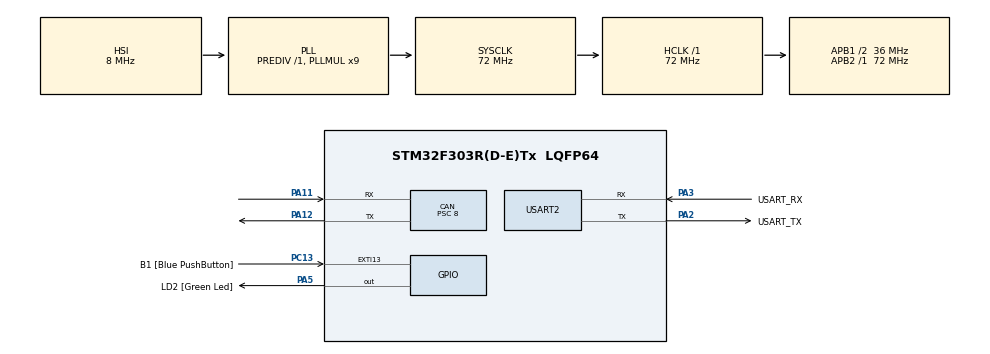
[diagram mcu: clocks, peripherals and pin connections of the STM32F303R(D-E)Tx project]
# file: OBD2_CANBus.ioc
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CAN.BS1=CAN_BS1_4TQ
CAN.BS2=CAN_BS2_4TQ
CAN.CalculateBaudRate=500000
CAN.CalculateTimeBit=2000
CAN.CalculateTimeQuantum=222.22222222222223
CAN.Prescaler=8
CAN.SJW=CAN_SJW_1TQ
Mcu.Family=STM32F3
Mcu.Name=STM32F303R(D-E)Tx
Mcu.Package=LQFP64
NVIC.EXTI15_10_IRQn=true\:0\:0\:false\:false\:true\:true\:true\:true
NVIC.PriorityGroup=NVIC_PRIORITYGROUP_0
NVIC.USB_LP_CAN_RX0_IRQn=true\:0\:0\:false\:false\:true\:true\:true\:true
PA11.Mode=CAN_Activate
PA11.Signal=CAN_RX
PA12.Mode=CAN_Activate
PA12.Signal=CAN_TX
PA13.GPIO_Label=TMS
PA13.Mode=Trace_Asynchronous_SW
PA13.Signal=SYS_JTMS-SWDIO
PA14.GPIO_Label=TCK
PA14.Mode=Trace_Asynchronous_SW
PA14.Signal=SYS_JTCK-SWCLK
PA2.GPIO_Label=USART_TX
PA2.GPIO_Mode=GPIO_MODE_AF_PP
PA2.GPIO_PuPd=GPIO_NOPULL
PA2.GPIO_Speed=GPIO_SPEED_FREQ_LOW
PA2.Mode=Asynchronous
PA2.Signal=USART2_TX
PA3.GPIO_Label=USART_RX
PA3.GPIO_Mode=GPIO_MODE_AF_PP
PA3.GPIO_PuPd=GPIO_NOPULL
PA3.GPIO_Speed=GPIO_SPEED_FREQ_LOW
PA3.Mode=Asynchronous
PA3.Signal=USART2_RX
PA5.GPIO_Label=LD2 [Green Led]
PA5.GPIO_Mode=GPIO_MODE_OUTPUT_PP
PA5.GPIO_PuPd=GPIO_NOPULL
PA5.GPIO_Speed=GPIO_SPEED_FREQ_LOW
PA5.Signal=GPIO_Output
PB3.GPIO_Label=SWO
PB3.Mode=Trace_Asynchronous_SW
PB3.Signal=SYS_JTDO-TRACESWO
PC13.GPIO_Label=B1 [Blue PushButton]
PC13.GPIO_ModeDefaultEXTI=GPIO_MODE_IT_FALLING
PC13.Signal=GPXTI13
PC14-OSC32_IN.Mode=LSE-External-Oscillator
PC14-OSC32_IN.Signal=RCC_OSC32_IN
PC15-OSC32_OUT.Mode=LSE-External-Oscillator
PC15-OSC32_OUT.Signal=RCC_OSC32_OUT
PF0-OSC_IN.Mode=HSE-External-Clock-Source
PF0-OSC_IN.Signal=RCC_OSC_IN
PF1-OSC_OUT.Signal=RCC_OSC_OUT
ProjectManager.HeapSize=0x200
ProjectManager.StackSize=0x400
ProjectManager.TargetToolchain=STM32CubeIDE
RCC.AHBFreq_Value=72000000
RCC.APB1CLKDivider=RCC_HCLK_DIV2
RCC.APB1Freq_Value=36000000
RCC.APB1TimFreq_Value=72000000
RCC.APB2Freq_Value=72000000
RCC.APB2TimFreq_Value=72000000
RCC.CortexFreq_Value=72000000
RCC.HCLKFreq_Value=72000000
RCC.HSE_VALUE=8000000
RCC.HSI_VALUE=8000000
RCC.PLLM=8
RCC.PLLMUL=RCC_PLL_MUL9
RCC.PLLN=336
RCC.PLLP=RCC_PLLP_DIV4
RCC.PLLQ=7
RCC.RCC_PLLsource_Clock_Source_FROM_HSE=RCC_HSE_PREDIV_DIV2
RCC.SYSCLKFreq_VALUE=72000000
RCC.SYSCLKSourceVirtual=RCC_SYSCLKSOURCE_PLLCLK
RCC.USBFreq_Value=72000000
USART2.VirtualMode-Asynchronous=VM_ASYNC
board=NUCLEO-F303RE

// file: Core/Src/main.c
/* USER CODE BEGIN Header */
/**
  ******************************************************************************
  * @file           : main.c
  * @brief          : Main program body
  ******************************************************************************
  * @attention
  *
  * Copyright (c) 2025 STMicroelectronics.
  * All rights reserved.
  *
  * This software is licensed under terms that can be found in the LICENSE file
  * in the root directory of this software component.
  * If no LICENSE file comes with this software, it is provided AS-IS.
  *
  ******************************************************************************
  */
/* USER CODE END Header */
#include "main.h"

/* USER CODE BEGIN Includes */
#include "stdio.h"
#include "OBD2msg.h"
/* USER CODE END Includes */

/* USER CODE BEGIN PD */
#define ID						0x100
#define GO_TO_FLOOR_1 			0x05
#define GO_TO_FLOOR_2			0x06
#define GO_TO_FLOOR_3			0x07
#define NO_BUTTON_PRESSED		0
#define BLUE_BUTTON_PRESSED		1
/* USER CODE END PD */

CAN_HandleTypeDef hcan;

UART_HandleTypeDef huart2;

/* USER CODE BEGIN PV */
CAN_TxHeaderTypeDef		TxHeader;
CAN_RxHeaderTypeDef		RxHeader;
uint8_t					TxData[8];
uint8_t					RxData[8];
uint32_t				TxMailbox;

uint8_t msg = GO_TO_FLOOR_1;
uint8_t BUTTON = NO_BUTTON_PRESSED;
uint8_t i;

uint8_t msgBuffer[] = { 0x00, 0x00, 0x00, 0x00, 0x00, 0x00, 0x00, 0x00 };
uint8_t testmsg[] = { 0x03, 0x41, 0x0D, 0x32, 0xAA, 0xAA, 0xAA, 0xAA };
uint8_t testData[] = { 0xAB, 0xCD, 0xEF, 0x12 };
uint8_t testData1[] = { 0x00, 0x00, 0x00, 0x00 };
//uint8_t testmsgbuffer[] = { 0x00, 0x00, 0x00, 0x00, 0x00, 0x00, 0x00, 0x00, 0x00};

/* USER CODE END PV */

void SystemClock_Config(void);
static void MX_GPIO_Init(void);
static void MX_USART2_UART_Init(void);
static void MX_CAN_Init(void);

/* USER CODE BEGIN 0 */

int _write(int file, char *ptr, int len)
{
  for (i = 0; i < len; i++)
  {
    ITM_SendChar(*ptr++);
  }
  return len;
}

/* USER CODE END 0 */

int main(void)
{

  /* MCU Configuration--------------------------------------------------------*/

  /* Reset of all peripherals, Initializes the Flash interface and the Systick. */
  HAL_Init();

  /* Configure the system clock */
  SystemClock_Config();

  /* Initialize all configured peripherals */
  MX_GPIO_Init();
  MX_USART2_UART_Init();
  MX_CAN_Init();

  /* Infinite loop */
  while (1)
  {

    /* USER CODE BEGIN 3 */

	  // TESTING AREA

	  // Receive
	  if (RxData == msgBuffer) {
		  HAL_GPIO_TogglePin(GPIOA, GPIO_PIN_5);  											// Turn on LED2
		  readOBD2(RxData);
		  HAL_Delay(2000);					    											// Keep LED on for 2 seconds
		  for (i=0; i<8; i++) {
			  RxData[i] = 0x00;																	// Reset the RxData[] buffer (used as flag)
			  }
		  HAL_GPIO_TogglePin(GPIOA, GPIO_PIN_5);  											// Turn off LED2
		  HAL_Delay(100);																		// Need a delay after toggle
		  }

	  // Transmit
	  if (BUTTON != 0) {
		  if (BUTTON == BLUE_BUTTON_PRESSED) {												// Blue button pressed --> Turn on LED2 for 2 seconds and Transmit message
			  HAL_GPIO_TogglePin(GPIOA, GPIO_PIN_5);  										// Turn on LED2

			  printf("Writing CAN Message!\n");
			  writeOBD2(msgBuffer, 0x01, 0x3E, 0x00, testData);
			  loadOBD2(TxData, msgBuffer);
			  readOBD2(TxData);

			  HAL_Delay(2000);																// Leave it on for 2 seconds

			  if (HAL_CAN_AddTxMessage(&hcan, &TxHeader, TxData, &TxMailbox) != HAL_OK) {	// Transmit the message
				  Error_Handler();															// Transmission error
				  }
			  HAL_GPIO_TogglePin(GPIOA, GPIO_PIN_5);  										// Turn off LED2
			  BUTTON = NO_BUTTON_PRESSED; 													// Reset the BUTTON flag
			  }
	  }

  }
  /* USER CODE END 3 */
}

void SystemClock_Config(void)
{
  RCC_OscInitTypeDef RCC_OscInitStruct = {0};
  RCC_ClkInitTypeDef RCC_ClkInitStruct = {0};
  RCC_PeriphCLKInitTypeDef PeriphClkInit = {0};

  /** Initializes the RCC Oscillators according to the specified parameters
  * in the RCC_OscInitTypeDef structure.
  */
  RCC_OscInitStruct.OscillatorType = RCC_OSCILLATORTYPE_HSI;
  RCC_OscInitStruct.HSIState = RCC_HSI_ON;
  RCC_OscInitStruct.HSICalibrationValue = RCC_HSICALIBRATION_DEFAULT;
  RCC_OscInitStruct.PLL.PLLState = RCC_PLL_ON;
  RCC_OscInitStruct.PLL.PLLSource = RCC_PLLSOURCE_HSI;
  RCC_OscInitStruct.PLL.PLLMUL = RCC_PLL_MUL9;
  RCC_OscInitStruct.PLL.PREDIV = RCC_PREDIV_DIV1;
  if (HAL_RCC_OscConfig(&RCC_OscInitStruct) != HAL_OK)
  {
    Error_Handler();
  }

  /** Initializes the CPU, AHB and APB buses clocks
  */
  RCC_ClkInitStruct.ClockType = RCC_CLOCKTYPE_HCLK|RCC_CLOCKTYPE_SYSCLK
                              |RCC_CLOCKTYPE_PCLK1|RCC_CLOCKTYPE_PCLK2;
  RCC_ClkInitStruct.SYSCLKSource = RCC_SYSCLKSOURCE_PLLCLK;
  RCC_ClkInitStruct.AHBCLKDivider = RCC_SYSCLK_DIV1;
  RCC_ClkInitStruct.APB1CLKDivider = RCC_HCLK_DIV2;
  RCC_ClkInitStruct.APB2CLKDivider = RCC_HCLK_DIV1;

  if (HAL_RCC_ClockConfig(&RCC_ClkInitStruct, FLASH_LATENCY_2) != HAL_OK)
  {
    Error_Handler();
  }
  PeriphClkInit.PeriphClockSelection = RCC_PERIPHCLK_USART2;
  PeriphClkInit.Usart2ClockSelection = RCC_USART2CLKSOURCE_PCLK1;
  if (HAL_RCCEx_PeriphCLKConfig(&PeriphClkInit) != HAL_OK)
  {
    Error_Handler();
  }
}

static void MX_CAN_Init(void)
{

  hcan.Instance = CAN;
  hcan.Init.Prescaler = 8;
  hcan.Init.Mode = CAN_MODE_NORMAL;
  hcan.Init.SyncJumpWidth = CAN_SJW_1TQ;
  hcan.Init.TimeSeg1 = CAN_BS1_4TQ;
  hcan.Init.TimeSeg2 = CAN_BS2_4TQ;
  hcan.Init.TimeTriggeredMode = DISABLE;
  hcan.Init.AutoBusOff = DISABLE;
  hcan.Init.AutoWakeUp = DISABLE;
  hcan.Init.AutoRetransmission = DISABLE;
  hcan.Init.ReceiveFifoLocked = DISABLE;
  hcan.Init.TransmitFifoPriority = DISABLE;
  if (HAL_CAN_Init(&hcan) != HAL_OK)
  {
    Error_Handler();
  }
  /* USER CODE BEGIN CAN_Init 2 */

  // Set Up CAN_Rx Filter

  CAN_FilterTypeDef filter;		// This is one of the 13 filters - can create more filters - this one will be number 0

  // Configure filter 0  to direct everything to FIFO 0
  filter.FilterBank = 0;							// this is filter number 0
  filter.FilterIdHigh = 0x0100 << 5;				// Set FilterIdHigh bits by choosing an ID and aligning the bits in the filter register with the receive register by shifting << 5
  filter.FilterIdLow = 0x0000;						// Not using FilterIdLow bits (set as don't care)
  filter.FilterMaskIdHigh = 0xFFC <<5;				// Same as example in lecture (this gives a range of ID's that will be accepted of between 0x100 and 0x103). Must also align the bits;
  filter.FilterMaskIdLow = 0x0000;					// Not using FilterMaskLow bits (set as don't care)
  filter.FilterFIFOAssignment = CAN_FILTER_FIFO0;	//
  filter.FilterMode = CAN_FILTERMODE_IDMASK;		// uses mask mode (so can set range of IDs)
  filter.FilterScale = CAN_FILTERSCALE_32BIT;		// use 32 bit filters
  filter.FilterActivation = ENABLE;					// By default the filters are disable so enable them
  filter.SlaveStartFilterBank = 0;

  if (HAL_CAN_ConfigFilter(&hcan, &filter) != HAL_OK)	// Set the above value for filter 0
  {
	  Error_Handler();
  }

  // Start the CAN Peripheral
  if (HAL_CAN_Start(&hcan) != HAL_OK)
  {
	  Error_Handler();
  }

  // Activate CAN_Rx notification interrupt
  if (HAL_CAN_ActivateNotification(&hcan, CAN_IT_RX_FIFO0_MSG_PENDING) != HAL_OK)
  {
	  Error_Handler();
  }

  // Prepare header field for Standard Mode CAN Transmission
  TxHeader.IDE = CAN_ID_STD;				// Using standard mode. Note this = CAN_ID_EXT for extended mode
  TxHeader.ExtId = 0x00;					// Extended ID is not used
  TxHeader.StdId = ID;						// Standard mode ID is 0x100 -- CHANGE THIS LATER --
  TxHeader.RTR = CAN_RTR_DATA;				// Send Data frame not an RTR
  TxHeader.DLC = 8;							// Data Length Code = 8
  TxHeader.TransmitGlobalTime = DISABLE;

  /* USER CODE END CAN_Init 2 */

}

static void MX_USART2_UART_Init(void)
{

  huart2.Instance = USART2;
  huart2.Init.BaudRate = 38400;
  huart2.Init.WordLength = UART_WORDLENGTH_8B;
  huart2.Init.StopBits = UART_STOPBITS_1;
  huart2.Init.Parity = UART_PARITY_NONE;
  huart2.Init.Mode = UART_MODE_TX_RX;
  huart2.Init.HwFlowCtl = UART_HWCONTROL_NONE;
  huart2.Init.OverSampling = UART_OVERSAMPLING_16;
  huart2.Init.OneBitSampling = UART_ONE_BIT_SAMPLE_DISABLE;
  huart2.AdvancedInit.AdvFeatureInit = UART_ADVFEATURE_NO_INIT;
  if (HAL_UART_Init(&huart2) != HAL_OK)
  {
    Error_Handler();
  }

}

static void MX_GPIO_Init(void)
{
  GPIO_InitTypeDef GPIO_InitStruct = {0};

  /* GPIO Ports Clock Enable */
  __HAL_RCC_GPIOC_CLK_ENABLE();
  __HAL_RCC_GPIOF_CLK_ENABLE();
  __HAL_RCC_GPIOA_CLK_ENABLE();
  __HAL_RCC_GPIOB_CLK_ENABLE();

  /*Configure GPIO pin Output Level */
  HAL_GPIO_WritePin(LD2_GPIO_Port, LD2_Pin, GPIO_PIN_RESET);

  /*Configure GPIO pin : B1_Pin */
  GPIO_InitStruct.Pin = B1_Pin;
  GPIO_InitStruct.Mode = GPIO_MODE_IT_FALLING;
  GPIO_InitStruct.Pull = GPIO_NOPULL;
  HAL_GPIO_Init(B1_GPIO_Port, &GPIO_InitStruct);

  /*Configure GPIO pin : LD2_Pin */
  GPIO_InitStruct.Pin = LD2_Pin;
  GPIO_InitStruct.Mode = GPIO_MODE_OUTPUT_PP;
  GPIO_InitStruct.Pull = GPIO_NOPULL;
  GPIO_InitStruct.Speed = GPIO_SPEED_FREQ_LOW;
  HAL_GPIO_Init(LD2_GPIO_Port, &GPIO_InitStruct);

  /* EXTI interrupt init*/
  HAL_NVIC_SetPriority(EXTI15_10_IRQn, 0, 0);
  HAL_NVIC_EnableIRQ(EXTI15_10_IRQn);

}

/* USER CODE BEGIN 4 */

// Override the HAL_CAN_RxFifo0MsgPendingCallback function
// This is called when the interrupt for FIFO0 is triggered.
void HAL_CAN_RxFifo0MsgPendingCallback(CAN_HandleTypeDef *hcan)
{
	// Get Rx Message and store in RxData[] buffer
	if (HAL_CAN_GetRxMessage(hcan, CAN_RX_FIFO0, &RxHeader, RxData) != HAL_OK)
	{
		Error_Handler();
	}
}

// Override the HAL_GPIO Callback
void HAL_GPIO_EXTI_Callback(uint16_t GPIO_Pin)
{
	// Set the BUTTON Flag to indicate which button was pressed
	if (GPIO_Pin == GPIO_PIN_13)
	{
		BUTTON = BLUE_BUTTON_PRESSED;
	}
}

/* USER CODE END 4 */

void Error_Handler(void)
{
  __disable_irq();
  while (1)
  {
  }
}
